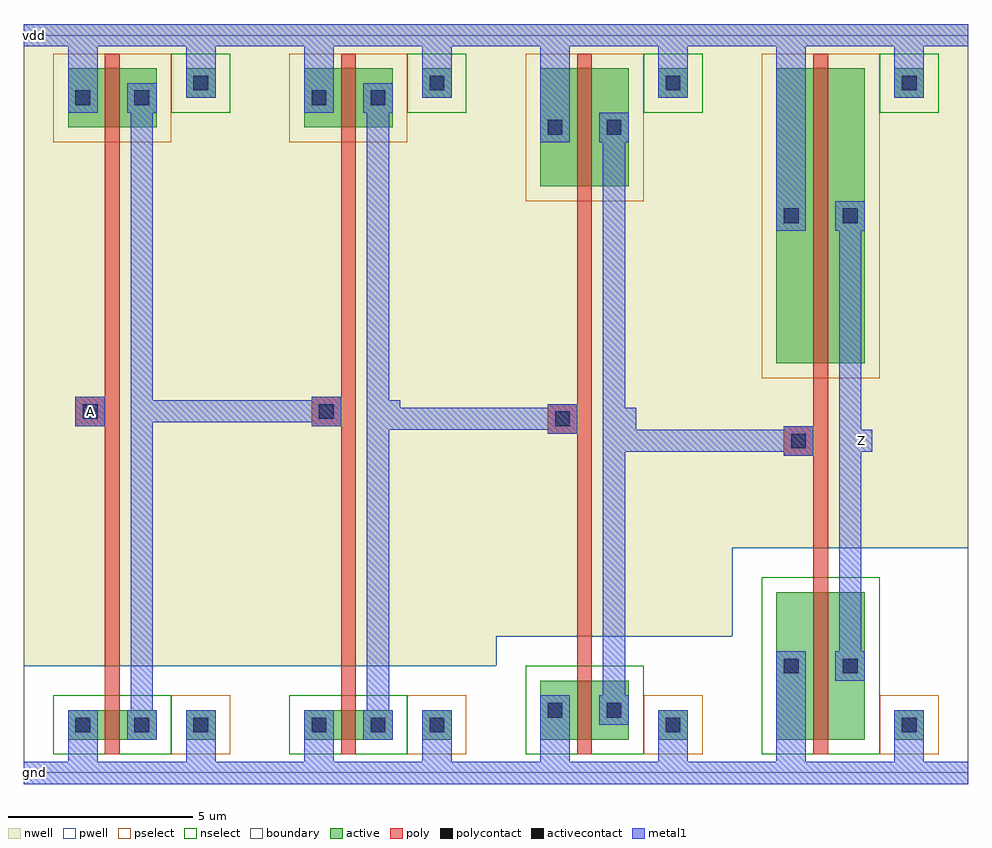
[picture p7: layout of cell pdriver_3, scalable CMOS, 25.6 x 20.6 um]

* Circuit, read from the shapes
.subckt pdriver_3 A Z gnd vdd
M1 pinv_5_1/A A gnd gnd nfet w=0.8u l=0.4u
M2 pinv_3_2/A pinv_5_1/A gnd gnd nfet w=0.8u l=0.4u
M3 pinv_6_3/A pinv_3_2/A gnd gnd nfet w=1.6u l=0.4u
M4 Z pinv_6_3/A gnd gnd nfet w=4u l=0.4u
M5 pinv_5_1/A A vdd vdd pfet w=1.6u l=0.4u
M6 pinv_3_2/A pinv_5_1/A vdd vdd pfet w=1.6u l=0.4u
M7 pinv_6_3/A pinv_3_2/A vdd vdd pfet w=3.2u l=0.4u
M8 Z pinv_6_3/A vdd vdd pfet w=8u l=0.4u
.ends

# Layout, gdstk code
import gdstk
lib = gdstk.Library(unit=1e-6, precision=1e-09)
def R(c, l, rs):  # rectangles x0, y0, x1, y1
    for r in rs: c.add(gdstk.rectangle(r[:2], r[2:], *l))
pwell = (41, 0)
nwell = (42, 0)
active = (43, 0)
pselect = (44, 0)
nselect = (45, 0)
poly = (46, 0)
polycontact = (47, 0)
activecontact = (48, 0)
metal1 = (49, 0)
boundary = (63, 0)

contact_9 = lib.new_cell('contact_9')
R(contact_9, nwell, [(-1.2,-1.2,2,2)])
R(contact_9, active, [(0,0,0.8,0.8)])
R(contact_9, pselect, [(-0.4,-0.4,1.2,1.2)])
R(contact_9, activecontact, [(0.2,0.2,0.6,0.6)])
R(contact_9, metal1, [(0,0,0.8,0.8)])

pmos_m1_w1_600_a_p = lib.new_cell('pmos_m1_w1_600_a_p')
R(pmos_m1_w1_600_a_p, nwell, [(-1.2,-1.2,3.6,2.8)])
R(pmos_m1_w1_600_a_p, active, [(0,0,2.4,1.6)])
R(pmos_m1_w1_600_a_p, pselect, [(-0.4,-0.4,2.8,2)])
R(pmos_m1_w1_600_a_p, poly, [(1,-0.4,1.4,2), (1,-0.4,1.4,2)])
R(pmos_m1_w1_600_a_p, metal1, [(0,0.4,0.8,1.2), (1.6,0.4,2.4,1.2)])
pmos_m1_w1_600_a_p.add(gdstk.Reference(contact_9, (0,0.4)))
pmos_m1_w1_600_a_p.add(gdstk.Reference(contact_9, (1.6,0.4)))
pmos_m1_w1_600_a_p.add(gdstk.Label('G', (1.2,0.8), layer=46, texttype=0))
pmos_m1_w1_600_a_p.add(gdstk.Label('S', (0.4,0.8), layer=49, texttype=0))
pmos_m1_w1_600_a_p.add(gdstk.Label('D', (2,0.8), layer=49, texttype=0))

contact_14 = lib.new_cell('contact_14')
R(contact_14, pwell, [(-1.2,-1.2,2,2)])
R(contact_14, active, [(0,0,0.8,0.8)])
R(contact_14, nselect, [(-0.4,-0.4,1.2,1.2)])
R(contact_14, activecontact, [(0.2,0.2,0.6,0.6)])
R(contact_14, metal1, [(0,0,0.8,0.8)])

nmos_m1_w0_800_a_p = lib.new_cell('nmos_m1_w0_800_a_p')
R(nmos_m1_w0_800_a_p, pwell, [(-1.2,-1.2,3.6,2)])
R(nmos_m1_w0_800_a_p, active, [(0,0,2.4,0.8)])
R(nmos_m1_w0_800_a_p, nselect, [(-0.4,-0.4,2.8,1.2)])
R(nmos_m1_w0_800_a_p, poly, [(1,-0.4,1.4,1.2), (1,-0.4,1.4,1.2)])
R(nmos_m1_w0_800_a_p, metal1, [(0,0,0.8,0.8), (1.6,0,2.4,0.8)])
nmos_m1_w0_800_a_p.add(gdstk.Reference(contact_14, (0,0)))
nmos_m1_w0_800_a_p.add(gdstk.Reference(contact_14, (1.6,0)))
nmos_m1_w0_800_a_p.add(gdstk.Label('G', (1.2,0.4), layer=46, texttype=0))
nmos_m1_w0_800_a_p.add(gdstk.Label('S', (0.4,0.4), layer=49, texttype=0))
nmos_m1_w0_800_a_p.add(gdstk.Label('D', (2,0.4), layer=49, texttype=0))

contact_15 = lib.new_cell('contact_15')
R(contact_15, nwell, [(-1.2,-1.2,2,2)])
R(contact_15, active, [(0,0,0.8,0.8)])
R(contact_15, nselect, [(-0.4,-0.4,1.2,1.2)])
R(contact_15, activecontact, [(0.2,0.2,0.6,0.6)])
R(contact_15, metal1, [(0,0,0.8,0.8)])

contact_16 = lib.new_cell('contact_16')
R(contact_16, pwell, [(-1.2,-1.2,2,2)])
R(contact_16, active, [(0,0,0.8,0.8)])
R(contact_16, pselect, [(-0.4,-0.4,1.2,1.2)])
R(contact_16, activecontact, [(0.2,0.2,0.6,0.6)])
R(contact_16, metal1, [(0,0,0.8,0.8)])

contact_10 = lib.new_cell('contact_10')
R(contact_10, poly, [(0,0,0.8,0.8)])
R(contact_10, polycontact, [(0.2,0.2,0.6,0.6)])
R(contact_10, metal1, [(0,0,0.8,0.8)])

pinv_5 = lib.new_cell('pinv_5')
R(pinv_5, pwell, [(0,-0.3,6.4,2.9)])
R(pinv_5, nwell, [(0,2.9,6.4,20.3)])
R(pinv_5, poly, [(2.2,0.5,2.6,17.1), (1.8,9.4,2.2,10.2)])
R(pinv_5, metal1, [(0,-0.3,6.4,0.3), (1.2,-0.3,2,0.9), (4.4,0,5.2,1.3), (2.9,0.9,3.5,18.7), (1.4,9.4,2.2,10.2), (3.2,9.5,3.8,10.1), (1.2,17.9,2,20.3), (4.4,18.7,5.2,20), (0,19.7,6.4,20.3)])
R(pinv_5, boundary, [(0,0,6.4,20)])
pinv_5.add(gdstk.Reference(pmos_m1_w1_600_a_p, (1.2,17.5)))
pinv_5.add(gdstk.Reference(nmos_m1_w0_800_a_p, (1.2,0.9)))
pinv_5.add(gdstk.Reference(contact_15, (4.4,18.3)))
pinv_5.add(gdstk.Reference(contact_16, (4.4,0.9)))
pinv_5.add(gdstk.Reference(contact_10, (1.4,9.4)))
pinv_5.add(gdstk.Label('gnd', (3.2,0), layer=49, texttype=0))
pinv_5.add(gdstk.Label('vdd', (3.2,20), layer=49, texttype=0))
pinv_5.add(gdstk.Label('A', (1.8,9.8), layer=49, texttype=0))
pinv_5.add(gdstk.Label('Z', (3.5,9.8), layer=49, texttype=0))

pmos_m1_w3_200_a_p = lib.new_cell('pmos_m1_w3_200_a_p')
R(pmos_m1_w3_200_a_p, nwell, [(-1.2,-1.2,3.6,4.4)])
R(pmos_m1_w3_200_a_p, active, [(0,0,2.4,3.2)])
R(pmos_m1_w3_200_a_p, pselect, [(-0.4,-0.4,2.8,3.6)])
R(pmos_m1_w3_200_a_p, poly, [(1,-0.4,1.4,3.6), (1,-0.4,1.4,3.6)])
R(pmos_m1_w3_200_a_p, metal1, [(0,1.2,0.8,2), (1.6,1.2,2.4,2)])
pmos_m1_w3_200_a_p.add(gdstk.Reference(contact_9, (0,1.2)))
pmos_m1_w3_200_a_p.add(gdstk.Reference(contact_9, (1.6,1.2)))
pmos_m1_w3_200_a_p.add(gdstk.Label('G', (1.2,1.6), layer=46, texttype=0))
pmos_m1_w3_200_a_p.add(gdstk.Label('S', (0.4,1.6), layer=49, texttype=0))
pmos_m1_w3_200_a_p.add(gdstk.Label('D', (2,1.6), layer=49, texttype=0))

nmos_m1_w1_600_a_p = lib.new_cell('nmos_m1_w1_600_a_p')
R(nmos_m1_w1_600_a_p, pwell, [(-1.2,-1.2,3.6,2.8)])
R(nmos_m1_w1_600_a_p, active, [(0,0,2.4,1.6)])
R(nmos_m1_w1_600_a_p, nselect, [(-0.4,-0.4,2.8,2)])
R(nmos_m1_w1_600_a_p, poly, [(1,-0.4,1.4,2), (1,-0.4,1.4,2)])
R(nmos_m1_w1_600_a_p, metal1, [(0,0.4,0.8,1.2), (1.6,0.4,2.4,1.2)])
nmos_m1_w1_600_a_p.add(gdstk.Reference(contact_14, (0,0.4)))
nmos_m1_w1_600_a_p.add(gdstk.Reference(contact_14, (1.6,0.4)))
nmos_m1_w1_600_a_p.add(gdstk.Label('G', (1.2,0.8), layer=46, texttype=0))
nmos_m1_w1_600_a_p.add(gdstk.Label('S', (0.4,0.8), layer=49, texttype=0))
nmos_m1_w1_600_a_p.add(gdstk.Label('D', (2,0.8), layer=49, texttype=0))

pinv_3 = lib.new_cell('pinv_3')
R(pinv_3, pwell, [(0,-0.3,6.4,3.7)])
R(pinv_3, nwell, [(0,3.7,6.4,20.3)])
R(pinv_3, poly, [(2.2,0.5,2.6,15.5), (1.8,9.2,2.2,10)])
R(pinv_3, metal1, [(0,-0.3,6.4,0.3), (1.2,-0.3,2,1.3), (4.4,0,5.2,1.3), (2.9,1.3,3.5,17.9), (1.4,9.2,2.2,10), (3.2,9.3,3.8,9.9), (1.2,17.1,2,20.3), (4.4,18.7,5.2,20), (0,19.7,6.4,20.3)])
R(pinv_3, boundary, [(0,0,6.4,20)])
pinv_3.add(gdstk.Reference(pmos_m1_w3_200_a_p, (1.2,15.9)))
pinv_3.add(gdstk.Reference(nmos_m1_w1_600_a_p, (1.2,0.9)))
pinv_3.add(gdstk.Reference(contact_15, (4.4,18.3)))
pinv_3.add(gdstk.Reference(contact_16, (4.4,0.9)))
pinv_3.add(gdstk.Reference(contact_10, (1.4,9.2)))
pinv_3.add(gdstk.Label('gnd', (3.2,0), layer=49, texttype=0))
pinv_3.add(gdstk.Label('vdd', (3.2,20), layer=49, texttype=0))
pinv_3.add(gdstk.Label('A', (1.8,9.6), layer=49, texttype=0))
pinv_3.add(gdstk.Label('Z', (3.5,9.6), layer=49, texttype=0))

pmos_m1_w8_000_a_p = lib.new_cell('pmos_m1_w8_000_a_p')
R(pmos_m1_w8_000_a_p, nwell, [(-1.2,-1.2,3.6,9.2)])
R(pmos_m1_w8_000_a_p, active, [(0,0,2.4,8)])
R(pmos_m1_w8_000_a_p, pselect, [(-0.4,-0.4,2.8,8.4)])
R(pmos_m1_w8_000_a_p, poly, [(1,-0.4,1.4,8.4), (1,-0.4,1.4,8.4)])
R(pmos_m1_w8_000_a_p, metal1, [(0,3.6,0.8,4.4), (1.6,3.6,2.4,4.4)])
pmos_m1_w8_000_a_p.add(gdstk.Reference(contact_9, (0,3.6)))
pmos_m1_w8_000_a_p.add(gdstk.Reference(contact_9, (1.6,3.6)))
pmos_m1_w8_000_a_p.add(gdstk.Label('G', (1.2,4), layer=46, texttype=0))
pmos_m1_w8_000_a_p.add(gdstk.Label('S', (0.4,4), layer=49, texttype=0))
pmos_m1_w8_000_a_p.add(gdstk.Label('D', (2,4), layer=49, texttype=0))

nmos_m1_w4_000_a_p = lib.new_cell('nmos_m1_w4_000_a_p')
R(nmos_m1_w4_000_a_p, pwell, [(-1.2,-1.2,3.6,5.2)])
R(nmos_m1_w4_000_a_p, active, [(0,0,2.4,4)])
R(nmos_m1_w4_000_a_p, nselect, [(-0.4,-0.4,2.8,4.4)])
R(nmos_m1_w4_000_a_p, poly, [(1,-0.4,1.4,4.4), (1,-0.4,1.4,4.4)])
R(nmos_m1_w4_000_a_p, metal1, [(0,1.6,0.8,2.4), (1.6,1.6,2.4,2.4)])
nmos_m1_w4_000_a_p.add(gdstk.Reference(contact_14, (0,1.6)))
nmos_m1_w4_000_a_p.add(gdstk.Reference(contact_14, (1.6,1.6)))
nmos_m1_w4_000_a_p.add(gdstk.Label('G', (1.2,2), layer=46, texttype=0))
nmos_m1_w4_000_a_p.add(gdstk.Label('S', (0.4,2), layer=49, texttype=0))
nmos_m1_w4_000_a_p.add(gdstk.Label('D', (2,2), layer=49, texttype=0))

pinv_6 = lib.new_cell('pinv_6')
R(pinv_6, pwell, [(0,-0.3,6.4,6.1)])
R(pinv_6, nwell, [(0,6.1,6.4,20.3)])
R(pinv_6, poly, [(2.2,0.5,2.6,10.7), (1.8,8.6,2.2,9.4)])
R(pinv_6, metal1, [(0,-0.3,6.4,0.3), (1.2,-0.3,2,2.5), (4.4,0,5.2,1.3), (2.9,2.5,3.5,15.5), (1.4,8.6,2.2,9.4), (3.2,8.7,3.8,9.3), (1.2,14.7,2,20.3), (4.4,18.7,5.2,20), (0,19.7,6.4,20.3)])
R(pinv_6, boundary, [(0,0,6.4,20)])
pinv_6.add(gdstk.Reference(pmos_m1_w8_000_a_p, (1.2,11.1)))
pinv_6.add(gdstk.Reference(nmos_m1_w4_000_a_p, (1.2,0.9)))
pinv_6.add(gdstk.Reference(contact_15, (4.4,18.3)))
pinv_6.add(gdstk.Reference(contact_16, (4.4,0.9)))
pinv_6.add(gdstk.Reference(contact_10, (1.4,8.6)))
pinv_6.add(gdstk.Label('gnd', (3.2,0), layer=49, texttype=0))
pinv_6.add(gdstk.Label('vdd', (3.2,20), layer=49, texttype=0))
pinv_6.add(gdstk.Label('A', (1.8,9), layer=49, texttype=0))
pinv_6.add(gdstk.Label('Z', (3.5,9), layer=49, texttype=0))

pdriver_3 = lib.new_cell('pdriver_3')
R(pdriver_3, metal1, [(0,-0.3,0.6,0.3), (16,8.7,16.6,9.3), (16.3,8.7,21,9.3), (22.4,8.7,23,9.3), (16,9,16.6,9.6), (9.6,9.3,10.2,9.9), (9.9,9.3,14.6,9.9), (1.4,9.4,2.2,10.2), (3.5,9.5,8.2,10.1), (9.6,9.6,10.2,9.8), (0,19.7,0.6,20.3)])
R(pdriver_3, boundary, [(0,0,25.6,20)])
pdriver_3.add(gdstk.Reference(pinv_5, (0,0)))
pdriver_3.add(gdstk.Reference(pinv_5, (6.4,0)))
pdriver_3.add(gdstk.Reference(pinv_3, (12.8,0)))
pdriver_3.add(gdstk.Reference(pinv_6, (19.2,0)))
pdriver_3.add(gdstk.Label('vdd', (0.3,20), layer=49, texttype=0))
pdriver_3.add(gdstk.Label('gnd', (0.3,0), layer=49, texttype=0))
pdriver_3.add(gdstk.Label('Z', (22.7,9), layer=49, texttype=0))
pdriver_3.add(gdstk.Label('A', (1.8,9.8), layer=49, texttype=0))

lib.write_gds('pdriver_3.gds')
